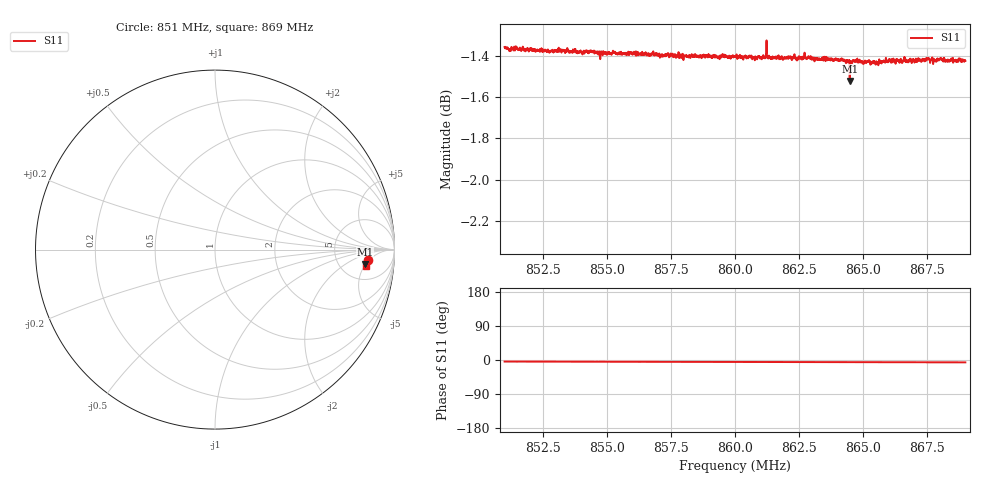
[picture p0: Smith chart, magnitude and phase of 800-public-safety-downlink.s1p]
! Calibrated averaged scanner-service zoom
# Hz S RI R 50
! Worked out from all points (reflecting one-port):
!   2001 points, 851 MHz to 869 MHz, reference 50 ohm
!   lowest |S11| = -1.5 dB at 864.48 MHz (marker M1), VSWR 11.45, Z = 443 - j239 ohm
!   phase of S11 starts at -4 deg and turns -2 deg over the sweep
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8.51e8  0.8534 -0.0599
8.51171e8  0.8524 -0.0612
8.51396e8  0.8527 -0.0623
8.5271e8  0.8516 -0.0639
8.5325e8  0.8511 -0.0656
8.53457e8  0.8521 -0.0644
8.53727e8  0.8512 -0.0658
8.54006e8  0.8501 -0.0666
8.555e8  0.8494 -0.0697
8.5775e8  0.8477 -0.0722
8.6e8  0.8476 -0.0765
8.60783e8  0.8466 -0.0781
8.61287e8  0.8469 -0.0781
8.61467e8  0.8474 -0.0781
8.6225e8  0.8463 -0.0797
8.64212e8  0.845 -0.0835
8.64482e8  0.8356 -0.0797
8.645e8  0.8438 -0.0844
8.64689e8  0.8443 -0.0844
8.64959e8  0.8445 -0.0841
8.65526e8  0.8442 -0.0867
8.65823e8  0.8438 -0.0888
8.66255e8  0.8437 -0.0898
8.66462e8  0.8447 -0.0887
8.6675e8  0.8443 -0.0901
8.67407e8  0.8452 -0.0886
8.68847e8  0.8446 -0.0923
8.69e8  0.8439 -0.0915
